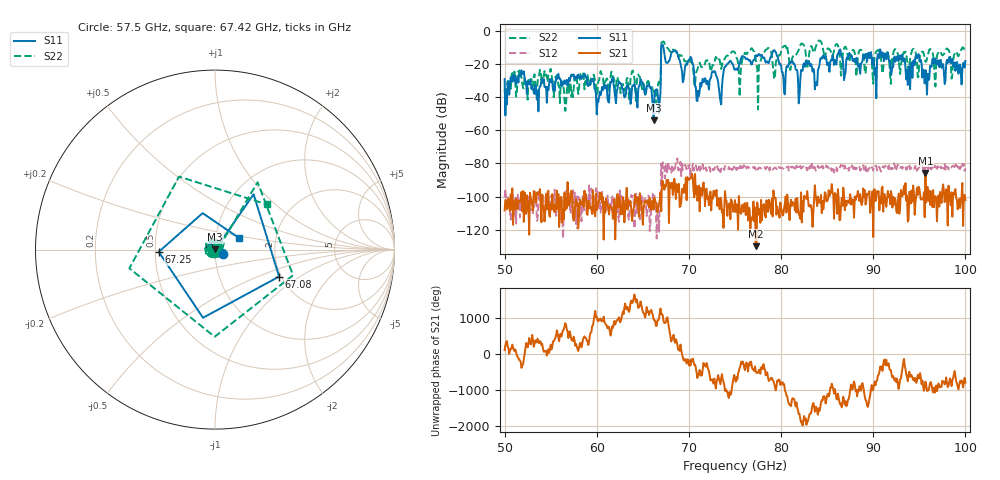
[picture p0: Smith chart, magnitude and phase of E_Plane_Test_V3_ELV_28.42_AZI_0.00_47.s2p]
! 11/26/2026 4:30:59 PM
! C:\ANRITSUVNA\TEMP\TEMP.S2P
! CHANNEL.1
! TR.MEASUREMENT
! RAW.DATA
# HZ S RI R 50.0
! FREQ.HZ  S11RE  S11IM  S21RE  S21IM  S12RE  S12IM  S22RE  S22IM
!; PortSelection: Port_12
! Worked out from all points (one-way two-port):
!   601 points, 50 GHz to 100 GHz, reference 50 ohm
!   highest |S21| = -85.71 dB at 95.67 GHz (marker M1); lowest = -130.0 dB at 77.25 GHz (marker M2)
!   lowest |S11| = -53.8 dB at 66.17 GHz (marker M3), VSWR 1.00, Z = 50.1 + j0.15 ohm
!   |S11| at or under -10 dB: start of sweep to 67 GHz; 67.25 GHz to end of sweep
!   |S22| runs from -48.2 to -5.6 dB; largest |S21 - S12| = 0.00016
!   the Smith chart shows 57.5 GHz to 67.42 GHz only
!   S11 on the Smith chart (normalised r, x): 57.5 GHz: 1.09, -0.05; 67.08 GHz: 1.95, -0.69; 67.25 GHz: 0.52, -0.01; 67.42 GHz: 1.29, +0.17
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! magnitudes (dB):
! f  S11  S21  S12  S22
! 50 GHz  -28.9  -108.4  -100.5  -35.5
! 51.67 GHz  -26.3  -103.4  -112.5  -23.2
! 53.42 GHz  -34.7  -104.0  -98.4  -34.8
! 57.5 GHz  -26.1  -114.6  -114.3  -34.6
! 58.42 GHz  -27.1  -104.9  -108.6  -24.8
! 60.17 GHz  -42.7  -103.1  -97.4  -30.3
! 61.67 GHz  -28.7  -107.1  -99.4  -25.5
! 66.17 GHz  -53.8  -107.9  -99.6  -34.0
! 66.67 GHz  -41.5  -106.9  -106.6  -31.6
! 67.08 GHz  -8.2  -90.3  -93.4  -6.8
! 67.25 GHz  -10.1  -93.2  -82.6  -6.2
! 67.42 GHz  -16.6  -93.0  -88.9  -8.3
! 70.25 GHz  -15.9  -88.4  -84.4  -18.7
! 70.92 GHz  -42.3  -102.5  -84.8  -23.2
! 75 GHz  -23.4  -102.2  -83.2  -13.0
! 77.25 GHz  -14.8  -130.0  -83.8  -17.1
! 83.42 GHz  -24.4  -118.4  -83.8  -10.8
! 91.67 GHz  -16.6  -100.3  -83.3  -15.2
! 93.75 GHz  -32.4  -115.1  -81.3  -21.2
! 94.83 GHz  -15.1  -99.0  -83.5  -27.9
! 95.67 GHz  -23.5  -85.7  -82.7  -18.5
! 100 GHz  -18.0  -102.1  -82.9  -12.5
